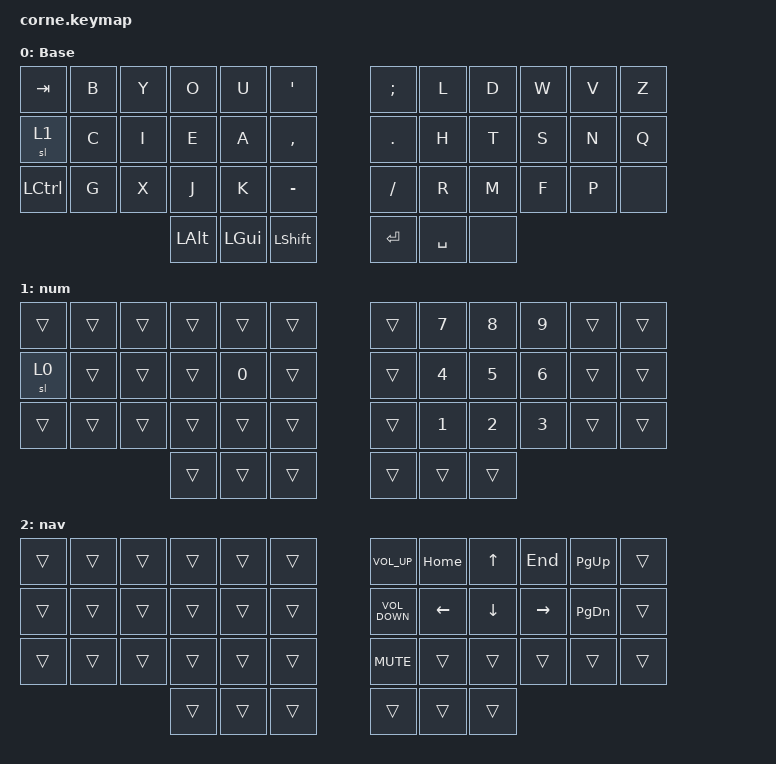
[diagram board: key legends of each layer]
/*
 * Copyright (c) 2020 The ZMK Contributors
 *
 * SPDX-License-Identifier: MIT
 */

#include <behaviors.dtsi>
#include <dt-bindings/zmk/keys.h>

/ {
    combos {
        compatible = "zmk,combos";

        c_backspace {
            bindings = <&kp BACKSPACE>;
            key-positions = <19 20>;
        };

        c_bkspW {
            bindings = <&kp LA(BACKSPACE)>;
            key-positions = <19 20 21>;
        };

        c_delete {
            bindings = <&kp DELETE>;
            key-positions = <20 21>;
        };

        c_deleteW {
            bindings = <&kp LA(DELETE)>;
            key-positions = <20 21 22>;
        };

        c_paren_open {
            bindings = <&kp LEFT_PARENTHESIS>;
            key-positions = <4 5>;
        };

        c_paren_close {
            bindings = <&kp RIGHT_PARENTHESIS>;
            key-positions = <6 7>;
        };

        c_bracket_open {
            bindings = <&kp LEFT_BRACKET>;
            key-positions = <16 17>;
        };

        c_bracket_close {
            bindings = <&kp RIGHT_BRACKET>;
            key-positions = <18 19>;
        };

        c_equals {
            bindings = <&kp EQUAL>;
            key-positions = <28 29>;
        };

        c_backslash {
            bindings = <&kp BACKSLASH>;
            key-positions = <30 31>;
        };

        c_nav {
            bindings = <&mo 2>;
            key-positions = <14 13>;
        };

        c_num {
            bindings = <&mo 1>;
            key-positions = <1 2>;
        };

        c_copy {
            bindings = <&kp K_COPY>;
            key-positions = <14 3>;
        };

        c_paste {
            bindings = <&kp K_PASTE>;
            key-positions = <3 16>;
        };

        c_cut {
            bindings = <&kp K_CUT>;
            key-positions = <14 16>;
        };
    };

    keymap {
        compatible = "zmk,keymap";

        default_layer {
            // -----------------------------------------------------------------------------------------
            // |  TAB |  B  |  Y  |  O  |  U  |  '  |   |  ;  |  L  |  D  |  W  |  V  |  Z  |
            // |  ESC |  C  |  I  |  E  |  A  |  ,  |   |  .  |  H  |  T  |  S  |  N  |  Q  |
            // | CTRL |  G  |  X  |  J  |  K  |  -  |   |  /  |  R  |  M  |  F  |  P  | ESC |
            //                    | ALT | CMD | SHF |   | ENT | RSE | ALT |

            label = "Base";
            bindings = <
&kp TAB    &kp B  &kp Y  &kp O     &kp U     &kp SQT      &kp SEMI  &kp L      &kp D  &kp W  &kp V  &kp Z
&sl 1      &kp C  &kp I  &kp E     &kp A     &kp COMMA    &kp DOT   &kp H      &kp T  &kp S  &kp N  &kp Q
&kp LCTRL  &kp G  &kp X  &kp J     &kp K     &kp MINUS    &kp FSLH  &kp R      &kp M  &kp F  &kp P  &none
                         &kp LALT  &kp LGUI  &kp LSHFT    &kp RET   &kp SPACE  &none
            >;
        };

        num {
            bindings = <
&trans  &trans  &trans  &trans  &trans  &trans    &trans  &kp N7  &kp N8  &kp N9  &trans  &trans
&sl 0   &trans  &trans  &trans  &kp N0  &trans    &trans  &kp N4  &kp N5  &kp N6  &trans  &trans
&trans  &trans  &trans  &trans  &trans  &trans    &trans  &kp N1  &kp N2  &kp N3  &trans  &trans
                        &trans  &trans  &trans    &trans  &trans  &trans
            >;

            label = "num";
        };

        nav {
            bindings = <
&trans  &trans  &trans  &trans  &trans  &trans    &kp K_VOLUME_UP    &kp HOME  &kp UP    &kp END    &kp PAGE_UP    &trans
&trans  &trans  &trans  &trans  &trans  &trans    &kp K_VOLUME_DOWN  &kp LEFT  &kp DOWN  &kp RIGHT  &kp PAGE_DOWN  &trans
&trans  &trans  &trans  &trans  &trans  &trans    &kp K_MUTE         &trans    &trans    &trans     &trans         &trans
                        &trans  &trans  &trans    &trans             &trans    &trans
            >;

            label = "nav";
        };
    };
};
